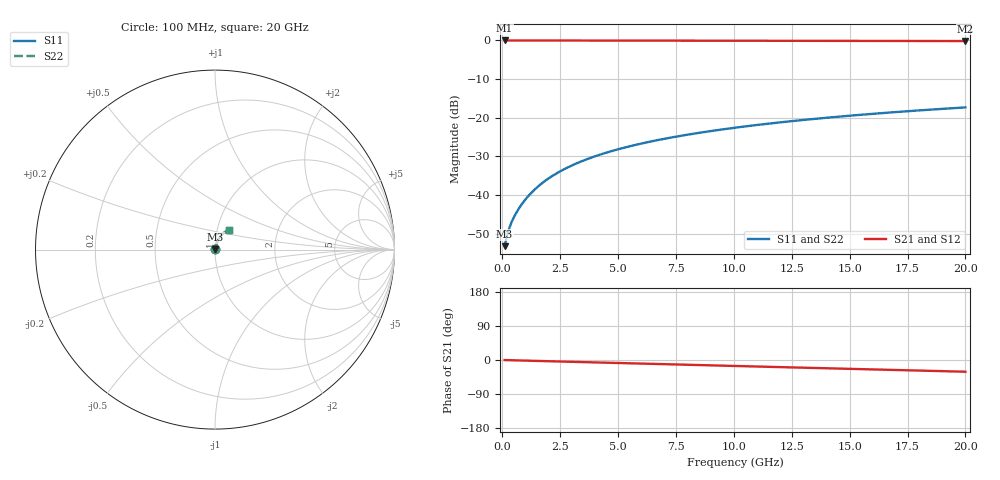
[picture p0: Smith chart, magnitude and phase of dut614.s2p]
! Touchstone file exported from HFSS 2026.1.0
!  File:  C:/ffzhzh/LocalFiles/Ansys_Project_Files/temp_train_BSMRDL_614_1783016276_53980.aedt
!  Generated:  02:19:20 AM Jul  3, 2026
!  Design:  BSMRDL
!  Project:  temp_train_BSMRDL_614_1783016276_53980
! Variables:
!  h_bsmrdl = 3.89um
!  h_ox = 20um
!  h_rdl = 5um
!  h_sub = 80um
!  h_tmrdl = 5um
!  h_tsv = 80um
!  h_via = 3um
!  l_bsmrdl = 513.26um
!  l_sub = 913.26um
!  l_tmrdl = 200um
!  m_sub = 200um
!  pitch = 40.46um
!  r_tsv = 6um
!  s_tmrdl = 10um
!  w_bsmrdl = 29.79um
!  w_sub = 500um
!  w_tmrdl = 12um
!  x_tsv_center1 = 206um
!  x_tsv_center2 = 749.05um
!  x_tsv_center3 = 961.05um
!  x_tsv_center4 = 1504.1um
!  x_tsv_center5 = 1716.1um
!  x_tsv_center6 = 2259.15um
# GHz S MA R 50.000000
! Terminal data exported
! Port[1] = BSM_RDL1_1_T1
! Port[2] = BSM_RDL1_1_T2
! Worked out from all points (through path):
!   200 points, 100 MHz to 20 GHz, reference 50 ohm
!   highest |S21| = -0.02 dB at 100 MHz (marker M1); lowest = -0.2 dB at 20 GHz (marker M2)
!   group delay of S21, straight-line fit = 4.29 ps
!   lowest |S11| = -53.3 dB at 100 MHz (marker M3), VSWR 1.00, Z = 50.2 + j0.112 ohm
!   |S11| at or under -10 dB: start of sweep to end of sweep
!   |S22| runs from -53.3 to -17.3 dB; largest |S21 - S12| = 3.1e-15
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0.1  0.002174 30.7  0.9981 -0.2  0.9981 -0.2  0.002174 30.7
! Gamma 0 0 0 0
! Port Impedance 50 0 50 0
0.2  0.002951 44.6  0.9979 -0.3  0.9979 -0.3  0.002951 44.6
0.3  0.003717 51.4  0.9977 -0.5  0.9977 -0.5  0.003717 51.4
0.4  0.004439 55.9  0.9976 -0.7  0.9976 -0.7  0.004439 55.9
0.5  0.005142 59.4  0.9974 -0.8  0.9974 -0.8  0.005143 59.4
0.6  0.005846 62.3  0.9974 -1.0  0.9974 -1.0  0.005846 62.2
0.8  0.007279 66.6  0.9973 -1.3  0.9973 -1.3  0.00728 66.6
1  0.008751 69.6  0.9972 -1.6  0.9972 -1.6  0.008751 69.6
1.2  0.01025 71.7  0.9971 -1.9  0.9971 -1.9  0.01025 71.7
1.4  0.01177 73.2  0.997 -2.3  0.997 -2.3  0.01177 73.2
1.7  0.01407 74.7  0.9969 -2.7  0.9969 -2.7  0.01407 74.6
2.2  0.01792 75.9  0.9966 -3.5  0.9966 -3.5  0.01792 75.9
2.8  0.02253 76.4  0.9962 -4.5  0.9962 -4.5  0.02253 76.4
3.5  0.02785 76.3  0.9957 -5.6  0.9957 -5.6  0.02785 76.3
4.2  0.0331 75.8  0.9951 -6.7  0.9951 -6.7  0.0331 75.8
5  0.039 75.0  0.9944 -8.0  0.9944 -8.0  0.039 75.0
6.8  0.05191 72.8  0.9928 -10.8  0.9928 -10.8  0.05191 72.8
8.3  0.06232 70.8  0.9914 -13.1  0.9914 -13.1  0.06232 70.8
10.1  0.07449 68.4  0.9898 -15.9  0.9898 -15.9  0.07449 68.4
13.4  0.09598 64.0  0.9867 -20.9  0.9867 -20.9  0.09598 63.9
16.7  0.1165 59.4  0.9835 -25.9  0.9835 -25.9  0.1164 59.4
20  0.1358 54.8  0.9802 -30.9  0.9802 -30.9  0.1358 54.7
